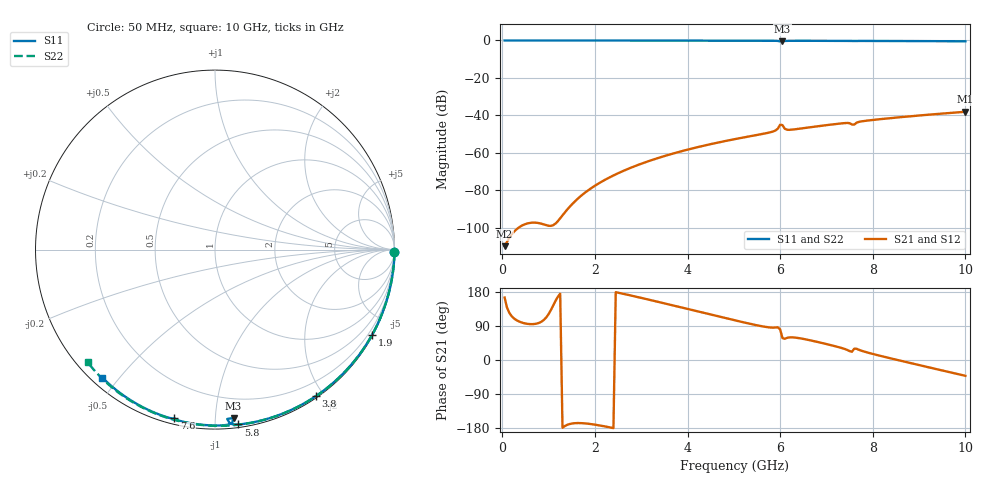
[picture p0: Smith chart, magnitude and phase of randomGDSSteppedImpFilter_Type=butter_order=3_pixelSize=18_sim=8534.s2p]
! freq	dB(S11)	phase(S11)	dB(S12)	phase(S12)
!  dB(S21)	phase(S21)	dB(S22)	phase(S22)
!S-par simulation data
#  GHz  S  DB  R 50
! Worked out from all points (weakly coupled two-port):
!   200 points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, 50 MHz to 10 GHz, reference 50 ohm
!   highest |S21| = -38.12 dB at 10 GHz (marker M1); lowest = -109.9 dB at 50 MHz (marker M2)
!   lowest |S11| = -0.5 dB at 6.05 GHz (marker M3), VSWR 34.31, Z = 3.27 - j55.7 ohm
!   |S11| at or under -10 dB: nowhere
!   |S22| runs from -0.5 to 0.0 dB; largest |S21 - S12| = 0
!   S11 on the Smith chart (normalised r, x): 50 MHz: open; 1.9 GHz: 0.03, -3.95; 3.8 GHz: 0.02, -1.90; 5.8 GHz: 0.02, -1.14; 7.6 GHz: 0.03, -0.79; 10 GHz: 0.03, -0.45
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0.05  -0.00 -0.8  -109.95 164.8  -109.95 164.8  -0.00 -0.8
0.9  -0.02 -13.6  -98.35 106.1  -98.35 106.1  -0.02 -14.3
1.75  -0.03 -26.2  -82.05 -166.9  -82.05 -166.9  -0.04 -27.6
1.85  -0.04 -27.7  -80.17 -168.1  -80.17 -168.1  -0.04 -29.2
1.9  -0.04 -28.4  -79.30 -168.8  -79.30 -168.8  -0.04 -29.9
2.2  -0.04 -32.8  -74.73 -174.9  -74.73 -174.9  -0.04 -34.5
2.55  -0.05 -37.9  -70.40 176.3  -70.40 176.3  -0.05 -39.9
3.4  -0.07 -49.9  -62.55 152.4  -62.55 152.4  -0.07 -52.5
3.8  -0.08 -55.5  -59.66 140.7  -59.66 140.7  -0.08 -58.3
5.05  -0.11 -72.3  -52.59 103.9  -52.59 103.9  -0.12 -75.9
5.8  -0.15 -82.4  -49.00 85.6  -49.00 85.6  -0.15 -86.1
5.95  -0.24 -85.1  -47.12 86.2  -47.12 86.2  -0.15 -88.0
6  -0.48 -85.9  -45.05 80.8  -45.05 80.8  -0.16 -88.7
6.05  -0.51 -83.7  -45.25 57.9  -45.25 57.9  -0.16 -89.4
6.1  -0.27 -84.3  -47.20 55.9  -47.20 55.9  -0.16 -90.0
6.15  -0.20 -85.4  -47.72 58.5  -47.72 58.5  -0.16 -90.7
6.7  -0.18 -92.9  -46.22 50.6  -46.22 50.6  -0.19 -97.8
7.4  -0.23 -101.5  -44.15 28.8  -44.15 28.8  -0.23 -106.7
7.6  -0.29 -103.6  -44.97 29.8  -44.97 29.8  -0.25 -109.2
7.75  -0.25 -105.4  -43.27 24.7  -43.27 24.7  -0.26 -111.0
8.35  -0.29 -112.6  -41.60 5.4  -41.60 5.4  -0.30 -118.4
10  -0.45 -131.4  -38.12 -41.7  -38.12 -41.7  -0.47 -138.4
